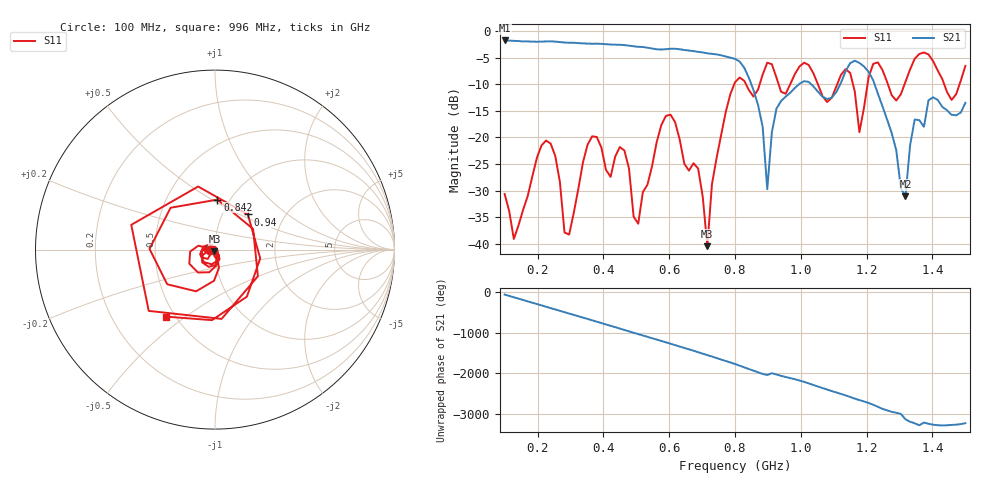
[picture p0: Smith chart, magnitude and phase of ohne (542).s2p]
! NanoVNA-App
! Date: 2025-09-25 14:25:01
! Start: 100MHz Stop: 1,5GHz Points: 101
! S-Parameter data: F S11 S21 S12 S22
# Hz S RI R 50
!  Frequency  S11_Real  S11_Imag  S21_Real  S21_Imag  S12_Real  S12_Imag  S22_Real  S22_Imag
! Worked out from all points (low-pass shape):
!   101 points, 100 MHz to 1.5 GHz, reference 50 ohm
!   highest |S21| = -1.79 dB at 100 MHz (marker M1); lowest = -31.1 dB at 1.318 GHz (marker M2)
!   |S21| within 3 dB of the highest: start of sweep to 771.2 MHz
!   lowest |S11| = -40.5 dB at 716 MHz (marker M3), VSWR 1.02, Z = 49.7 - j0.901 ohm
!   |S11| at or under -10 dB: start of sweep to 797.8 MHz; 833.1 MHz to 875.1 MHz (41.98 MHz wide, 4.92 % of centre); 1.052 GHz to 1.111 GHz (58.98 MHz wide, 5.45 % of centre) (the widest 3 of 7)
!   S12 and S22 are empty: the file has one direction only
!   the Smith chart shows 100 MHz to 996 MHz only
!   S11 on the Smith chart (normalised r, x): 100 MHz: 0.94, -0.01; 842 MHz: 0.88, +0.53; 940 MHz: 1.31, +0.55; 996 MHz: 0.44, -0.42
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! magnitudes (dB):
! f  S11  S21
! 100 MHz  -30.6  -1.8
! 128 MHz  -39.1  -1.9
! 226 MHz  -20.6  -2.0
! 296 MHz  -38.3  -2.2
! 338 MHz  -24.7  -2.3
! 464 MHz  -22.5  -2.7
! 506 MHz  -36.2  -3.0
! 576 MHz  -17.7  -3.5
! 688 MHz  -25.9  -3.9
! 716 MHz  -40.5  -4.2
! 800 MHz  -9.7  -5.3
! 842 MHz  -11.1  -8.8
! 898 MHz  -6.0  -29.8
! 940 MHz  -11.4  -13.2
! 996 MHz  -6.7  -9.9
! 1.038 GHz  -7.9  -10.4
! 1.178 GHz  -19.0  -6.0
! 1.22 GHz  -6.2  -9.3
! 1.276 GHz  -12.1  -19.2
! 1.318 GHz  -9.6  -31.1
! 1.346 GHz  -5.2  -16.6
! 1.5 GHz  -6.6  -13.5
